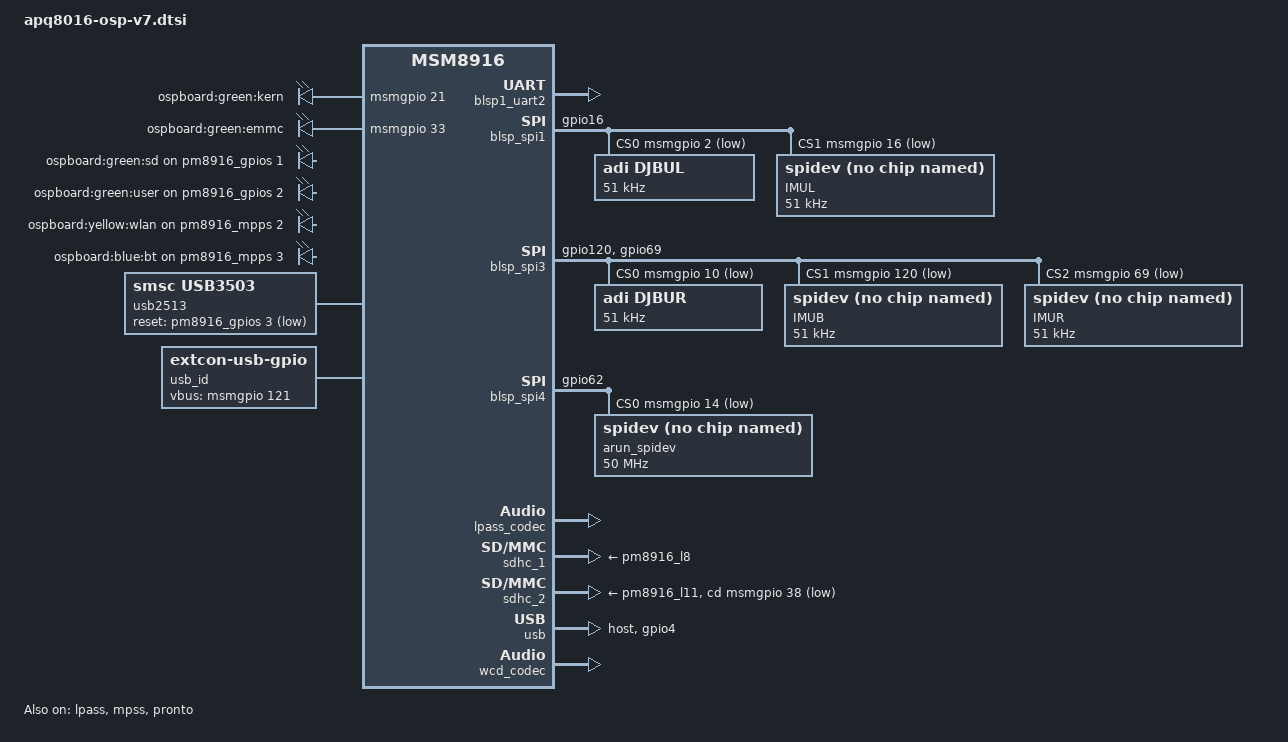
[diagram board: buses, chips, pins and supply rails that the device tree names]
/*
 * Copyright (c) 2015, The Linux Foundation. All rights reserved.
 *
 * This program is free software; you can redistribute it and/or modify
 * it under the terms of the GNU General Public License version 2 and
 * only version 2 as published by the Free Software Foundation.
 *
 * This program is distributed in the hope that it will be useful,
 * but WITHOUT ANY WARRANTY; without even the implied warranty of
 * MERCHANTABILITY or FITNESS FOR A PARTICULAR PURPOSE.  See the
 * GNU General Public License for more details.
 */

#include "msm8916-pm8916.dtsi"
#include <dt-bindings/gpio/gpio.h>
#include <dt-bindings/input/input.h>
#include <dt-bindings/pinctrl/qcom,pmic-gpio.h>
#include <dt-bindings/pinctrl/qcom,pmic-mpp.h>
#include <dt-bindings/sound/apq8016-lpass.h>

/ {
	aliases {
		serial0 = &blsp1_uart2;
		serial1 = &blsp1_uart1;
	};

	chosen {
		stdout-path = "serial0";
	};

	reserved-memory {
		ramoops@bff00000{
			compatible = "ramoops";
			reg = <0x0 0xbff00000 0x0 0x100000>;

			record-size = <0x20000>;
			console-size = <0x20000>;
			ftrace-size = <0x20000>;
		};
	};

	leds {
		pinctrl-names = "default";
		pinctrl-0 = <&ospboard_leds_v7>,
			    <&pm8916_gpios_leds>,
			    <&pm8916_mpps_leds>;

		compatible = "gpio-leds";

		led@1 {
			label = "ospboard:green:kern";
			gpios = <&msmgpio 21 GPIO_ACTIVE_HIGH>;
			linux,default-trigger = "heartbeat";
			default-state = "off";
		};

		led@2 {
			label = "ospboard:green:emmc";
			gpios = <&msmgpio 33 GPIO_ACTIVE_HIGH>;
			linux,default-trigger = "mmc0";
			default-state = "off";
		};

		led@3 {
			label = "ospboard:green:sd";
			gpios = <&pm8916_gpios 1 GPIO_ACTIVE_HIGH>;
			linux,default-trigger = "mmc1";
			default-state = "off";
		};

		led@4 {
			label = "ospboard:green:user";
			gpios = <&pm8916_gpios 2 GPIO_ACTIVE_HIGH>;
			linux,default-trigger = "none";
			panic-indicator;
			default-state = "off";
		};

		led@5 {
			label = "ospboard:yellow:wlan";
			gpios = <&pm8916_mpps 2 GPIO_ACTIVE_HIGH>;
			linux,default-trigger = "phy0tx";
			default-state = "off";
		};

		led@6 {
			label = "ospboard:blue:bt";
			gpios = <&pm8916_mpps 3 GPIO_ACTIVE_HIGH>;
			linux,default-trigger = "bluetooth-power";
			default-state = "off";
		};
	};

	usb2513 {
		compatible = "smsc,usb3503";
		reset-gpios = <&pm8916_gpios 3 GPIO_ACTIVE_LOW>;
		initial-mode = <1>;
	};

	usb_id: usb-id {
		compatible = "linux,extcon-usb-gpio";
		vbus-gpio = <&msmgpio 121 GPIO_ACTIVE_HIGH>;
		pinctrl-names = "default";
		pinctrl-0 = <&usb_id_default>;
	};

	soc {
		sound {
			compatible = "qcom,apq8016-sbc-sndcard";
			status = "disabled";
		};

		sound_osp {
			compatible = "qcom,apq8016-osp-sndcard";
			reg = <0x07702000 0x4>, <0x07702004 0x4>;
			reg-names = "mic-iomux", "spkr-iomux";
			status = "okay";
			pinctrl-0 = <&ext_pri_tlmm_lines_act &ext_pri_ws_act &ext_sec_tlmm_lines_act
					&cdc_pdm_lines_act>;
			pinctrl-1 = <&ext_pri_tlmm_lines_sus &ext_pri_ws_sus &ext_sec_tlmm_lines_sus
					&cdc_pdm_lines_sus>;

			pinctrl-names = "default", "sleep";
			qcom,model = "OSP-BOARD-SND-CARD";

			djbus@0 {
				link-name = "Playback";
				cpu {
					sound-dai = <&lpass MI2S_PRIMARY>;
				};
				codec {
					sound-dai = <&djbur>;
				};
			};

			djbum@1 {
				link-name = "Capture";
				cpu {
					sound-dai = <&lpass MI2S_QUATERNARY>;
				};
				codec {
					sound-dai = <&djbul>;
				};
			};

			internal-codec-capture-dai-link@0 {
				link-name = "WCD-Capture";
				cpu {
					sound-dai = <&lpass MI2S_TERTIARY>;
				};
				codec {
					sound-dai = <&lpass_codec 1>, <&wcd_codec 1>;
				};
			};

		};

	};
};

&blsp_dma {
	status = "okay";
};

&blsp1_uart2 {
	label = "LS-UART1";
	status = "okay";
	pinctrl-names = "default", "sleep";
	pinctrl-0 = <&blsp1_uart2_default>;
	pinctrl-1 = <&blsp1_uart2_sleep>;
};

&blsp_spi1 {
	// SPI1, GPIO0:3
	label = "SPI1-GPIO03";
	status = "okay";
	num-cs = <2>;
	cs-gpios = <&msmgpio   2 GPIO_ACTIVE_LOW>, //GPIO2   = SPI1_CS0
		   <&msmgpio  16 GPIO_ACTIVE_LOW>; //GPIO16  = SPI1_CS2
	pinctrl-names = "default", "sleep";
	pinctrl-0 = <&spi1_default>, <&ospboard_spi1cs2_default>;
	pinctrl-1 = <&spi1_sleep>, <&ospboard_spi1cs2_sleep>;

	djbul: codec@0 {
		#sound-dai-cells = <0>;
		label = "DJBUL";
		status = "okay";
		compatible = "adi,djbul";
		reg = <0>; //CS index from the list above
		spi-max-frequency = <51000>; //Max 50kHz because FPGA
	};

	imul: bmi160@1 {
		label = "IMUL";
		status = "okay";
		// compatible = "bosch,bmi160";
		compatible = "spidev";
		reg = <1>;
		spi-max-frequency = <51000>; //Max 50kHz because FPGA
	};
};

&blsp_spi3 {
	// SPI3, GPIO8:11
	label = "HS-SPI1";
	status = "okay";
	num-cs = <3>;
	cs-gpios = <&msmgpio  10 GPIO_ACTIVE_LOW>,  //GPIO10  = SPI3_CS0
		   <&msmgpio  120 GPIO_ACTIVE_LOW>, //GPIO120 = SPI3_CS1
		   <&msmgpio  69 GPIO_ACTIVE_LOW>;  //GPIO69  = SPI3_CS3
	pinctrl-names = "default", "sleep";
	pinctrl-0 = <&spi3_default>, <&ospboard_spi3cs1_default>, <&ospboard_spi3cs3_default>;
	pinctrl-1 = <&spi3_sleep>, <&ospboard_spi3cs1_sleep>, <&ospboard_spi3cs3_sleep>;

	djbur: codec@0 {
		#sound-dai-cells = <0>;
		label = "DJBUR";
		status = "okay";
		compatible = "adi,djbur";
		reg = <0>; //CS index from the list above
		spi-max-frequency = <51000>; //Max 50kHz because FPGA
	};

	imub: bmi160@1 {
		label = "IMUB";
		status = "okay";
		// compatible = "bosch,bmi160";
		compatible = "spidev";
		reg = <1>;
		spi-max-frequency = <51000>; //Max 50kHz because FPGA
	};

	imur: bmi160@2 {
		label = "IMUR";
		status = "okay";
		// compatible = "bosch,bmi160";
		compatible = "spidev";
		reg = <2>;
		spi-max-frequency = <51000>; //Max 50kHz because FPGA
	};
};

&blsp_spi4 {
	label = "SPI4-GPIO1215";
	status = "okay";
	num-cs = <1>;
	cs-gpios = <&msmgpio 14 GPIO_ACTIVE_LOW>; //GPIO14 = SPI4_CS0
	pinctrl-names = "default", "sleep";
	pinctrl-0 = <&spi4_default>, <&ospboard_fmeeg_int_default>;
	pinctrl-1 = <&spi4_sleep>, <&ospboard_fmeeg_int_sleep>;

	arun_spidev: spidev@0 {
		label = "arun_spidev";
		status = "okay";
		compatible = "spidev";
		reg = <0>;
		spi-max-frequency = <50000000>;
	};
};

&gpu {
	status = "disabled";
};

&lpass {
	status = "okay";
};

&lpass_codec {
	status = "okay";
};

&mdss {
	status = "disabled";
};

&mpss {
	status = "okay";
};

&pronto {
	status = "okay";
};

&sdhc_1 {
	vmmc-supply = <&pm8916_l8>;
	vqmmc-supply = <&pm8916_l5>;

	pinctrl-names = "default", "sleep";
	pinctrl-0 = <&sdc1_clk_on &sdc1_cmd_on &sdc1_data_on>;
	pinctrl-1 = <&sdc1_clk_off &sdc1_cmd_off &sdc1_data_off>;
	status = "okay";
};

&sdhc_2 {
	vmmc-supply = <&pm8916_l11>;
	vqmmc-supply = <&pm8916_l12>;

	pinctrl-names = "default", "sleep";
	pinctrl-0 = <&sdc2_clk_on &sdc2_cmd_on &sdc2_data_on &sdc2_cd_on>;
	pinctrl-1 = <&sdc2_clk_off &sdc2_cmd_off &sdc2_data_off &sdc2_cd_off>;

	cd-gpios = <&msmgpio 38 0x1>;
	status = "okay";
};

&usb {
	extcon = <&usb_id>;
	status = "okay";
	adp-disable;
	hnp-disable;
	srp-disable;
	dr_mode = "host";
	pinctrl-names = "default";
	pinctrl-0 = <&usb_sw_sel_pm>;
	ulpi {
		phy {
			v1p8-supply = <&pm8916_l7>;
			v3p3-supply = <&pm8916_l13>;
			extcon = <&usb_id>;
		};
	};
};

&venus {
	status = "disabled";
};

&wcd_codec {
	status = "okay";
	clocks = <&gcc GCC_CODEC_DIGCODEC_CLK>;
	clock-names = "mclk";
};

&smd_rpm_regulators {
	vdd_l1_l2_l3-supply = <&pm8916_s3>;
	vdd_l4_l5_l6-supply = <&pm8916_s4>;
	vdd_l7-supply = <&pm8916_s4>;

	s1 {
		regulator-min-microvolt = <375000>;
		regulator-max-microvolt = <1562000>;
	};

	s3 {
		regulator-min-microvolt = <375000>;
		regulator-max-microvolt = <1562000>;
		regulator-always-on;
	};

	s4 {
		regulator-min-microvolt = <1800000>;
		regulator-max-microvolt = <1800000>;
		regulator-always-on;
		regulator-boot-on;
	};

	l1 {
		regulator-min-microvolt = <375000>;
		regulator-max-microvolt = <1525000>;
	};

	l2 {
		regulator-min-microvolt = <1200000>;
		regulator-max-microvolt = <1200000>;
	};

	l3 {
		regulator-min-microvolt = <375000>;
		regulator-max-microvolt = <1525000>;
		regulator-always-on;
	};

	l4 {
		regulator-min-microvolt = <1750000>;
		regulator-max-microvolt = <3337000>;
	};

	l5 {
		regulator-min-microvolt = <1750000>;
		regulator-max-microvolt = <3337000>;
	};

	l6 {
		regulator-min-microvolt = <1800000>;
		regulator-max-microvolt = <1800000>;
	};

	l7 {
		regulator-min-microvolt = <1750000>;
		regulator-max-microvolt = <3337000>;
	};

	l8 {
		regulator-min-microvolt = <1750000>;
		regulator-max-microvolt = <3337000>;
	};

	l9 {
		regulator-min-microvolt = <1750000>;
		regulator-max-microvolt = <3337000>;
	};

	l10 {
		regulator-min-microvolt = <1750000>;
		regulator-max-microvolt = <3337000>;
	};

	l11 {
		regulator-min-microvolt = <1750000>;
		regulator-max-microvolt = <3337000>;
		regulator-allow-set-load;
		regulator-system-load = <400000>;
	};

	l12 {
		regulator-min-microvolt = <1750000>;
		regulator-max-microvolt = <3337000>;
	};

	l13 {
		regulator-min-microvolt = <1750000>;
		regulator-max-microvolt = <3337000>;
	};

	l14 {
		regulator-min-microvolt = <1750000>;
		regulator-max-microvolt = <3337000>;
	};

	l15 {
		regulator-min-microvolt = <1750000>;
		regulator-max-microvolt = <3337000>;
		regulator-always-on;
	};

	l16 {
		regulator-min-microvolt = <1800000>;
		regulator-max-microvolt = <1800000>;
		regulator-always-on;
	};

	l17 {
		regulator-min-microvolt = <3300000>;
		regulator-max-microvolt = <3300000>;
		regulator-always-on;
	};

	l18 {
		regulator-min-microvolt = <1750000>;
		regulator-max-microvolt = <3337000>;
	};
};

/*
 * GPIO name legend: proper name = the GPIO line is used as GPIO
 *         NC = not connected (pin out but not routed from the chip to
 *              anything the board)
 *         "[PER]" = pin is muxed for [peripheral] (not GPIO)
 *
 * For the lines routed to the external connectors the
 * lines are named after the 96Boards CE Specification 1.0,
 * Appendix "Expansion Connector Signal Description".
 *
 * When the 96Board naming of a line and the schematic name of
 * the same line are in conflict, the 96Board specification
 * takes precedence, which means that the external UART on the
 * LSEC is named UART0 while the schematic and SoC names this
 * UART3. This is only for the informational lines i.e. "[FOO]",
 * the GPIO named lines "GPIO-A" thru "GPIO-L" are the only
 * ones actually used for GPIO.
 */

&msmgpio {

	msmgpio_leds: msmgpio_leds {
		pinconf {
			pins = "gpio21", "gpio120";
			function = "gpio";
			output-low;
		};
	};

	usb_id_default: usb-id-default {
		pinmux {
			function = "gpio";
			pins = "gpio121";
		};

		pinconf {
			pins = "gpio121";
			drive-strength = <8>;
			input-enable;
			bias-pull-up;
		};
	};

	msm_key_volp_n_default: msm_key_volp_n_default {
		pinmux {
			function = "gpio";
			pins = "gpio107";
		};
		pinconf {
			pins = "gpio107";
			drive-strength = <8>;
			input-enable;
			bias-pull-up;
		};
	};

	ospboard_leds: msmgpio_leds {
		pinconf {
			pins = "gpio21", "gpio109";
			function = "gpio";
			output-low;
		};
	};

	ospboard_leds_v7: msmgpio_leds {
		pinconf {
			pins = "gpio21", "gpio33";
			function = "gpio";
			output-low;
		};
	};

	ospboard_spi1cs2_default: ospboard_spi1cs2_default {
	    pinmux {
	        function = "gpio";
	        pins = "gpio16";
	    };
	    pinconf {
	        pins = "gpio16";
	        drive-strength = <16>;
	        bias-disable;
	        output-high;
	    };
	};

	ospboard_spi1cs2_sleep: ospboard_spi1cs2_sleep {
	    pinmux {
	        function = "gpio";
	        pins = "gpio16";
	    };
	    pinconf {
	        pins = "gpio16";
	        drive-strength = <2>;
	        bias-pull-down;
	    };
	};

	ospboard_spi3cs1_default: ospboard_spi3cs1_default {
	    pinmux {
	        function = "gpio";
	        pins = "gpio120";
	    };
	    pinconf {
	        pins = "gpio120";
	        drive-strength = <16>;
	        bias-disable;
	        output-high;
	    };
	};

	ospboard_spi3cs1_sleep: ospboard_spi3cs1_sleep {
	    pinmux {
	        function = "gpio";
	        pins = "gpio120";
	    };
	    pinconf {
	        pins = "gpio120";
	        drive-strength = <2>;
	        bias-pull-down;
	    };
	};

	ospboard_spi3cs3_default: ospboard_spi3cs3_default {
	    pinmux {
	        function = "gpio";
	        pins = "gpio69";
	    };
	    pinconf {
	        pins = "gpio69";
	        drive-strength = <16>;
	        bias-disable;
	        output-high;
	    };
	};

	ospboard_spi3cs3_sleep: ospboard_spi3cs3_sleep {
	    pinmux {
	        function = "gpio";
	        pins = "gpio69";
	    };
	    pinconf {
	        pins = "gpio69";
	        drive-strength = <2>;
	        bias-pull-down;
	    };
	};

	ospboard_fmeeg_int_default: ospboard_fmeeg_int_default {
	    pinmux {
	        function = "gpio";
	        pins = "gpio62";
	    };
	    pinconf {
	        pins = "gpio62";
	        drive-strength = <16>;
	        bias-disable;
	        output-high;
	    };
	};

	ospboard_fmeeg_int_sleep: ospboard_fmeeg_int_sleep {
	    pinmux {
	        function = "gpio";
	        pins = "gpio62";
	    };
	    pinconf {
	        pins = "gpio62";
	        drive-strength = <2>;
	        bias-pull-down;
	    };
	};
};

&pm8916_gpios {
	gpio-line-names =
		"USR_LED_3_CTRL",
		"USR_LED_4_CTRL",
		"USB_HUB_RESET_N_PM",
		"USB_SW_SEL_PM";

	usb_hub_reset_pm: usb-hub-reset-pm {
		pins = "gpio3";
		function = PMIC_GPIO_FUNC_NORMAL;

		input-disable;
		output-high;
	};

	usb_hub_reset_pm_device: usb-hub-reset-pm-device {
		pins = "gpio3";
		function = PMIC_GPIO_FUNC_NORMAL;

		output-low;
	};

	usb_sw_sel_pm: usb-sw-sel-pm {
		pins = "gpio4";
		function = PMIC_GPIO_FUNC_NORMAL;

		power-source = <PM8916_GPIO_VPH>;
		input-disable;
		output-high;
	};

	usb_sw_sel_pm_device: usb-sw-sel-pm-device {
		pins = "gpio4";
		function = PMIC_GPIO_FUNC_NORMAL;

		power-source = <PM8916_GPIO_VPH>;
		input-disable;
		output-low;
	};

	pm8916_gpios_leds: pm8916-gpios-leds {
		pins = "gpio1", "gpio2";
		function = PMIC_GPIO_FUNC_NORMAL;

		output-low;
	};
};

&pm8916_mpps {
	gpio-line-names =
		"VDD_PX_BIAS",
		"WLAN_LED_CTRL",
		"BT_LED_CTRL",
		"GPIO-F"; /* LS_EXP_GPIO_F, LSEC pin 28 */

	pinctrl-names = "default";
	pinctrl-0 = <&ls_exp_gpio_f>;

	ls_exp_gpio_f: pm8916-mpp4 {
		pins = "mpp4";
		function = "digital";

		output-low;
		power-source = <PM8916_MPP_L5>;	// 1.8V
	};

	pm8916_mpps_leds: pm8916-mpps-leds {
		pins = "mpp2", "mpp3";
		function = "digital";

		output-low;
	};
};
